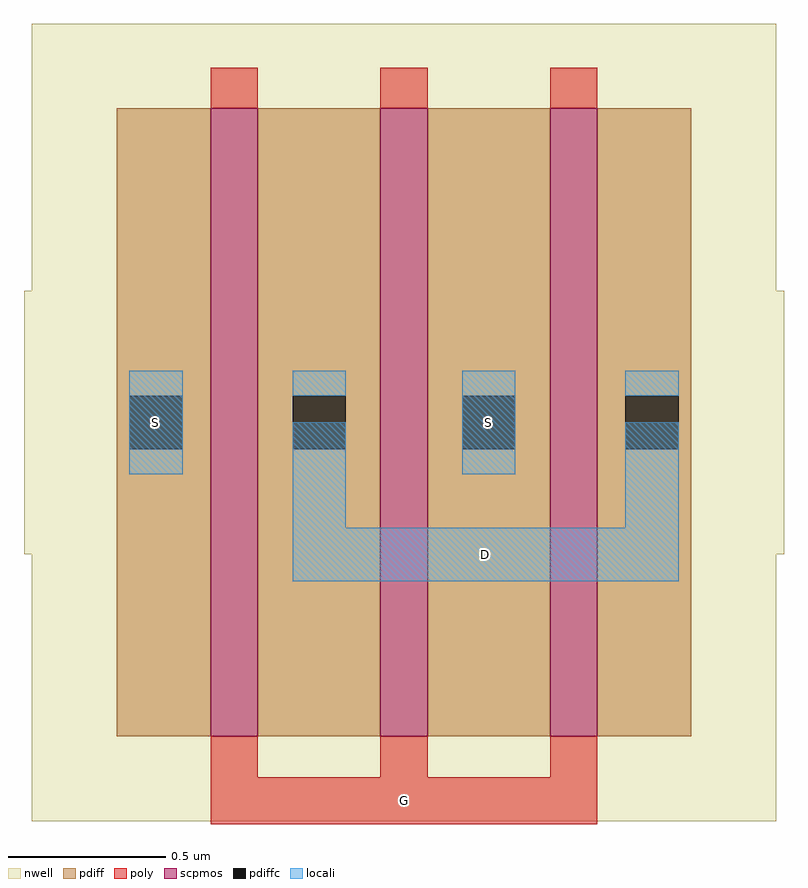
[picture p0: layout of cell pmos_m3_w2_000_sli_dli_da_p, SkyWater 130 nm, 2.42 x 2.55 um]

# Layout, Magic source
magic
tech sky130A
magscale 1 2
<< nwell >>
rect -54 -54 420 454
<< scpmos >>
rect 60 0 90 400
rect 168 0 198 400
rect 276 0 306 400
<< pdiff >>
rect 0 0 60 400
rect 90 0 168 400
rect 198 0 276 400
rect 306 0 366 400
<< poly >>
rect 60 400 90 426
rect 168 400 198 426
rect 276 400 306 426
rect 60 -26 90 0
rect 168 -26 198 0
rect 276 -26 306 0
rect 60 -56 306 -26
<< locali >>
rect 8 167 42 233
rect 112 133 146 200
rect 220 167 254 233
rect 324 133 358 200
rect 112 99 358 133
use contact_11  contact_11_3
transform 1 0 0 0 1 167
box -59 -51 109 117
use contact_11  contact_11_2
transform 1 0 104 0 1 167
box -59 -51 109 117
use contact_11  contact_11_1
transform 1 0 212 0 1 167
box -59 -51 109 117
use contact_11  contact_11_0
transform 1 0 316 0 1 167
box -59 -51 109 117
<< labels >>
rlabel poly s 183 -41 183 -41 4 G
rlabel corelocali s 25 200 25 200 4 S
rlabel corelocali s 237 200 237 200 4 S
rlabel corelocali s 235 116 235 116 4 D
<< properties >>
string FIXED_BBOX -54 -54 420 454
<< end >>

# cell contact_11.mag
magic
tech sky130A
magscale 1 2
<< nwell >>
rect -59 -51 109 117
<< pdiff >>
rect 0 50 50 62
rect 0 16 8 50
rect 42 16 50 50
rect 0 4 50 16
<< pdiffc >>
rect 8 16 42 50
<< locali >>
rect 8 50 42 66
rect 8 0 42 16
<< properties >>
string FIXED_BBOX -59 -51 109 117
<< end >>
